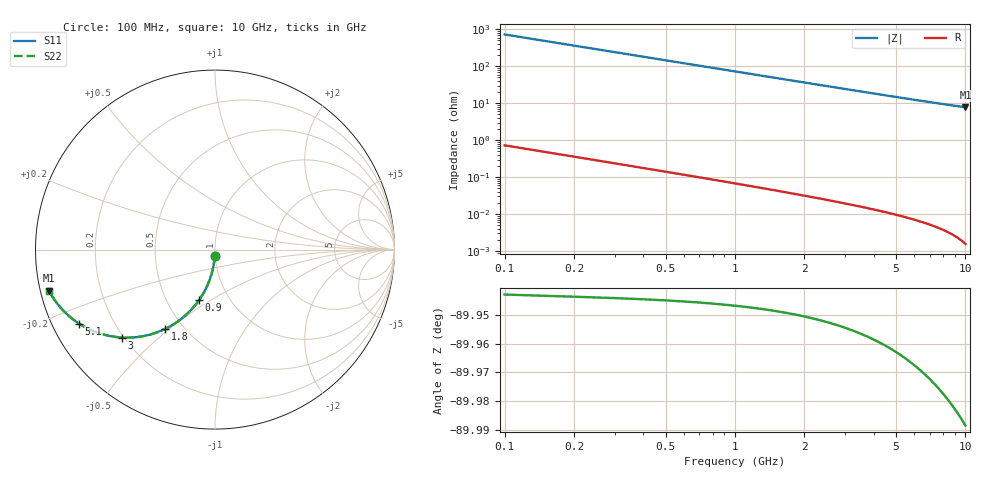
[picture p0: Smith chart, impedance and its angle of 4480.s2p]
# Hz S RI R 50.00
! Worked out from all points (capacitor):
!   100 points, 100 MHz to 10 GHz, reference 50 ohm
!   read as one part in shunt: C = 2.19 pF near 100 MHz
!   lowest |Z| = 7.81 ohm at 10 GHz (marker M1)
!   S11 on the Smith chart (normalised r, x): 100 MHz: 1.00, -0.07; 900 MHz: 0.73, -0.44; 1.8 GHz: 0.40, -0.48; 3 GHz: 0.19, -0.39; 5.1 GHz: 0.08, -0.25; 10 GHz: 0.02, -0.12
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1e8  -0.00096 -0.034  0.9985 -0.0346  0.9985 -0.0346  -0.00096 -0.034
2e8  -0.00452 -0.0678  0.995 -0.069  0.995 -0.069  -0.00452 -0.0678
3e8  -0.0104 -0.1011  0.9891 -0.1029  0.9891 -0.1029  -0.0104 -0.1011
4e8  -0.0184 -0.1337  0.981 -0.1361  0.981 -0.1361  -0.0184 -0.1337
5e8  -0.0286 -0.1654  0.9709 -0.1684  0.9709 -0.1684  -0.0286 -0.1654
6e8  -0.0407 -0.196  0.9587 -0.1996  0.9587 -0.1996  -0.0407 -0.196
7e8  -0.0547 -0.2253  0.9448 -0.2295  0.9448 -0.2295  -0.0547 -0.2253
9e8  -0.0874 -0.2795  0.9121 -0.285  0.9121 -0.285  -0.0874 -0.2795
1.1e9  -0.1252 -0.3274  0.8743 -0.3341  0.8743 -0.3341  -0.1252 -0.3274
1.3e9  -0.1666 -0.3684  0.8328 -0.3763  0.8328 -0.3763  -0.1666 -0.3684
1.5e9  -0.2103 -0.4026  0.7892 -0.4117  0.7892 -0.4117  -0.2103 -0.4026
1.8e9  -0.2772 -0.4418  0.7222 -0.4527  0.7222 -0.4527  -0.2772 -0.4418
2.1e9  -0.3431 -0.4679  0.6562 -0.4807  0.6562 -0.4807  -0.3431 -0.4679
2.4e9  -0.4057 -0.4832  0.5936 -0.4979  0.5936 -0.4979  -0.4057 -0.4832
3e9  -0.5166 -0.49  0.4827 -0.5083  0.4827 -0.5083  -0.5166 -0.49
3.4e9  -0.5788 -0.4827  0.4204 -0.5035  0.4204 -0.5035  -0.5788 -0.4827
4.2e9  -0.6779 -0.4537  0.3213 -0.4794  0.3213 -0.4794  -0.6779 -0.4537
5.1e9  -0.7571 -0.4123  0.2419 -0.4436  0.2419 -0.4436  -0.7571 -0.4123
5.9e9  -0.8073 -0.3751  0.1914 -0.4115  0.1914 -0.4115  -0.8073 -0.3751
6.7e9  -0.8445 -0.3403  0.154 -0.3818  0.154 -0.3818  -0.8445 -0.3403
8.4e9  -0.8963 -0.2766  0.1017 -0.3293  0.1017 -0.3293  -0.8963 -0.2766
1e10  -0.9253 -0.2283  0.072 -0.2918  0.072 -0.2918  -0.9253 -0.2283
